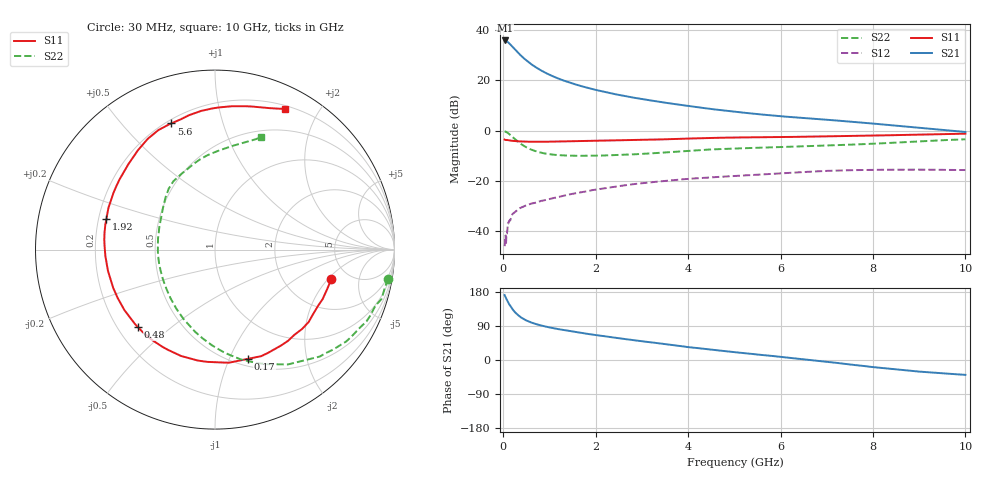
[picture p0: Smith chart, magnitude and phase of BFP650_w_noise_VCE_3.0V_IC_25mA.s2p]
! Infineon Technologies  Discrete & RF Semiconductors
! BFP650
! VCE =  3.0 V,  IC =  25 mA
! Common Emitter S-Parameters:  Jan 2016
# GHz  S  MA  R  50
!  f  S11  S21  S12  S22
! GHz  MAG  ANG  MAG  ANG  MAG  ANG  MAG  ANG
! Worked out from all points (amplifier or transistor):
!   229 points, 30 MHz to 10 GHz, reference 50 ohm
!   highest |S21| = 35.9 dB at 40 MHz (marker M1)
!   |S21| within 3 dB of that: start of sweep to 227.1 MHz
!   unconditionally stable (mu >= 1): 2.414 GHz to end of sweep
!   at 280 MHz: K = 0.28, MSG = 31.9 dB, |S12| = -31.9 dB
!   at 1.78 GHz: K = 0.94, MSG = 20.7 dB, |S12| = -24.2 dB
!   at 10 GHz: K = 1.04, MAG = 6.3 dB, |S12| = -15.6 dB
!   lowest NFmin = 0.71 dB at 450 MHz
!   S11 on the Smith chart (normalised r, x): 30 MHz: 3.64, -2.19; 170 MHz: 0.58, -1.18; 480 MHz: 0.28, -0.39; 1.92 GHz: 0.23, +0.13; 5.6 GHz: 0.22, +0.69; 10 GHz: 0.24, +1.59
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0.03  0.6686 -14.4  62.29 171.3  0.0051 71.5  0.9767 -9.6
0.04  0.6625 -19.4  62.29 168.5  0.006 85.9  0.9698 -12.8
0.08  0.6595 -37.7  59.61 158.3  0.0091 80.2  0.9343 -25.3
0.11  0.6511 -51.3  56.81 151.3  0.0144 66.9  0.893 -34.9
0.14  0.6469 -63.0  53.47 145.0  0.0166 66.3  0.8457 -42.9
0.17  0.6358 -73.1  50.01 139.7  0.0187 58.7  0.7994 -50.1
0.2  0.635 -83.1  46.93 133.9  0.0222 54.0  0.7579 -57.6
0.24  0.627 -94.0  42.82 128.0  0.0236 53.0  0.7008 -65.6
0.3  0.6221 -107.7  37.33 120.5  0.0263 50.4  0.6284 -76.8
0.4  0.6136 -124.8  30.16 111.1  0.0301 45.1  0.5347 -91.6
0.48  0.6091 -134.7  25.96 105.7  0.0325 44.1  0.4813 -101.4
0.68  0.605 -152.0  18.9 95.9  0.037 42.8  0.3992 -121.2
0.9  0.6055 -164.4  14.37 88.7  0.0418 43.0  0.3538 -138.1
1.26  0.6126 -178.1  10.33 80.0  0.05 43.2  0.3256 -158.0
1.7  0.6238 169.7  7.657 71.3  0.0602 42.5  0.3187 -175.6
1.92  0.628 164.4  6.765 67.3  0.066 41.5  0.3189 177.3
3.4  0.6731 137.0  3.738 43.5  0.0988 30.7  0.3659 143.0
5.1  0.7375 114.3  2.34 19.5  0.1281 16.2  0.4479 120.1
5.6  0.744 109.1  2.102 13.3  0.1364 12.1  0.4618 113.8
6.8  0.7702 97.8  1.712 -1.9  0.1563 0.8  0.5031 101.0
8.4  0.8167 78.0  1.287 -23.6  0.1686 -16.0  0.5757 82.4
10  0.8767 63.4  0.947 -39.2  0.1659 -28.3  0.6775 67.7
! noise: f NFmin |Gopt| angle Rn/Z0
0.45  0.71  0.07  109  2.2
0.9  0.73  0.24  -178  0.13
1.9  0.89  0.31  -164  0.05
2.4  0.97  0.32  -150  0.06
3.5  1.21  0.37  -125  0.13
